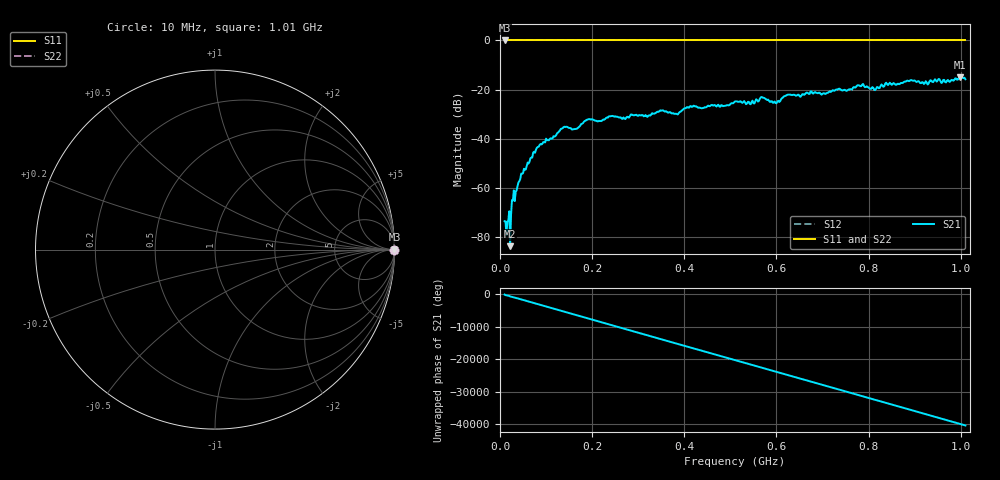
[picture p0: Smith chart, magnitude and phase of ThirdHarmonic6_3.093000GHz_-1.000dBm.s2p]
! 8/17/2025 9:06:15 AM
! C:\ANRITSUVNA\TEMP\TEMP.S2P
! CHANNEL.1
! TR.MEASUREMENT
! RAW.DATA
! RF.CORRECTION.OFF
! AVERAGING.OFF
! IF.BANDWIDTH: 5KHZ
! SWEEPTYPE:  FREQ.SWEEP(Linear)
! Reference Plane Port Info
! PORT:  PORT1  PORT2
! DISTANCE:  0  m  0  m
! TIME:  0  s  0  s
! PHASE.OFFSET:  0  deg.  0  deg.
! LOSS:  0  dB  0  dB
! REF.LOSS:  0  dB  0  dB
! REF.FREQ:  0  Hz  0  Hz
! Power Info
! POWER:  -20  dBm  -20  dBm
! EFF.POWER:  -20  dBm  -20  dBm
! SOURCE.ATTEN:  0  dB  0  dB
! TEST.ATTEN:  0  dB  0  dB
# GHZ S RI R 50.0
! FREQ.GHZ  S11RE  S11IM  S21RE  S21IM  S12RE  S12IM  S22RE  S22IM
!; PortSelection: Port_12
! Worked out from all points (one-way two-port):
!   501 points, 10 MHz to 1.01 GHz, reference 50 ohm
!   highest |S21| = -14.99 dB at 998 MHz (marker M1); lowest = -83.5 dB at 22 MHz (marker M2)
!   lowest |S11| = 0.0 dB at 10 MHz (marker M3)
!   |S11| at or under -10 dB: nowhere
!   |S22| runs from 0.0 to 0.0 dB; largest |S21 - S12| = 1.2
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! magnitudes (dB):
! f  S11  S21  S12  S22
! 10 MHz  0.0  -73.4  0.0  0.0
! 18 MHz  0.0  -73.2  0.0  0.0
! 22 MHz  0.0  -83.5  0.0  0.0
! 30 MHz  0.0  -60.9  0.0  0.0
! 44 MHz  0.0  -56.2  0.0  0.0
! 82 MHz  0.0  -43.3  0.0  0.0
! 136 MHz  0.0  -35.6  0.0  0.0
! 162 MHz  0.0  -36.0  0.0  0.0
! 178 MHz  0.0  -33.8  0.0  0.0
! 344 MHz  0.0  -29.0  0.0  0.0
! 382 MHz  0.0  -29.8  0.0  0.0
! 416 MHz  0.0  -27.0  0.0  0.0
! 510 MHz  0.0  -24.7  0.0  0.0
! 548 MHz  0.0  -24.5  0.0  0.0
! 570 MHz  0.0  -23.2  0.0  0.0
! 596 MHz  0.0  -24.8  0.0  0.0
! 624 MHz  0.0  -22.0  0.0  0.0
! 678 MHz  0.0  -21.5  0.0  0.0
! 814 MHz  0.0  -20.2  0.0  0.0
! 844 MHz  0.0  -17.7  0.0  0.0
! 998 MHz  0.0  -15.0  0.0  0.0
! 1.01 GHz  0.0  -15.7  0.0  0.0
